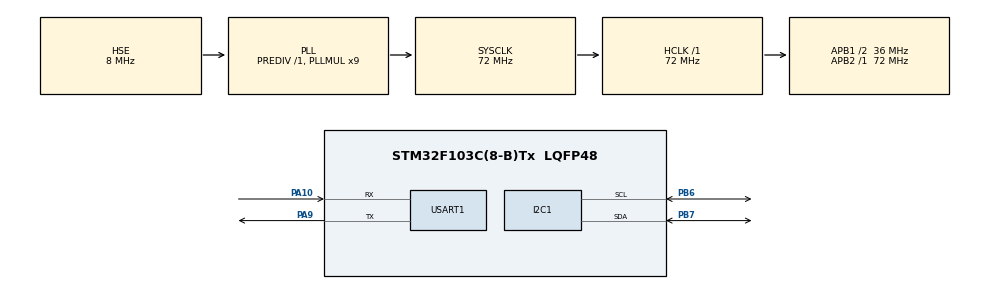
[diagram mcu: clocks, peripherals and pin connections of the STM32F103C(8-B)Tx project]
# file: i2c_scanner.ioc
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Mcu.Family=STM32F1
Mcu.Name=STM32F103C(8-B)Tx
Mcu.Package=LQFP48
NVIC.PriorityGroup=NVIC_PRIORITYGROUP_4
PA10.Mode=Asynchronous
PA10.Signal=USART1_RX
PA13.Mode=Serial_Wire
PA13.Signal=SYS_JTMS-SWDIO
PA14.Mode=Serial_Wire
PA14.Signal=SYS_JTCK-SWCLK
PA9.Mode=Asynchronous
PA9.Signal=USART1_TX
PB6.Mode=I2C
PB6.Signal=I2C1_SCL
PB7.Mode=I2C
PB7.Signal=I2C1_SDA
PD0-OSC_IN.Mode=HSE-External-Oscillator
PD0-OSC_IN.Signal=RCC_OSC_IN
PD1-OSC_OUT.Mode=HSE-External-Oscillator
PD1-OSC_OUT.Signal=RCC_OSC_OUT
ProjectManager.HeapSize=0x200
ProjectManager.StackSize=0x400
ProjectManager.TargetToolchain=STM32CubeIDE
RCC.AHBFreq_Value=72000000
RCC.APB1CLKDivider=RCC_HCLK_DIV2
RCC.APB1Freq_Value=36000000
RCC.APB1TimFreq_Value=72000000
RCC.APB2Freq_Value=72000000
RCC.APB2TimFreq_Value=72000000
RCC.HCLKFreq_Value=72000000
RCC.PLLMUL=RCC_PLL_MUL9
RCC.PLLSourceVirtual=RCC_PLLSOURCE_HSE
RCC.SYSCLKFreq_VALUE=72000000
RCC.SYSCLKSource=RCC_SYSCLKSOURCE_PLLCLK
RCC.USBFreq_Value=72000000
USART1.VirtualMode=VM_ASYNC
board=custom

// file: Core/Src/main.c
/* USER CODE BEGIN Header */
/**
  ******************************************************************************
  * @file           : main.c
  * @brief          : Main program body
  ******************************************************************************
  * @attention
  *
  * Copyright (c) 2024 STMicroelectronics.
  * All rights reserved.
  *
  * This software is licensed under terms that can be found in the LICENSE file
  * in the root directory of this software component.
  * If no LICENSE file comes with this software, it is provided AS-IS.
  *
  ******************************************************************************
  */
/* USER CODE END Header */
#include "main.h"
#include "string.h"

I2C_HandleTypeDef hi2c1;

UART_HandleTypeDef huart1;

/* USER CODE BEGIN PV */
uint8_t buf[8] = {0};
uint8_t separator[] = " . ";
uint8_t new_line[] = "\r\n";
uint8_t start_text[] = "Start scanning I2C: \r\n";
uint8_t end_text[] = "\r\nStop scanning";

/* USER CODE END PV */

void SystemClock_Config(void);
static void MX_GPIO_Init(void);
static void MX_I2C1_Init(void);
static void MX_USART1_UART_Init(void);

int main(void)
{

  /* MCU Configuration--------------------------------------------------------*/

  /* Reset of all peripherals, Initializes the Flash interface and the Systick. */
  HAL_Init();

  /* Configure the system clock */
  SystemClock_Config();

  /* Initialize all configured peripherals */
  MX_GPIO_Init();
  MX_I2C1_Init();
  MX_USART1_UART_Init();
  /* USER CODE BEGIN 2 */

  uint8_t row = 0, state;

    HAL_Delay(1000);

    // процедура сканирования
    HAL_UART_Transmit(&huart1, start_text, sizeof(start_text), 128);
    for( uint8_t i=1; i<128; i++ ){
        state = HAL_I2C_IsDeviceReady(&hi2c1, (uint16_t)(i<<1), 3, 5);

        if ( state != HAL_OK ){ // нет ответа от адреса
            HAL_UART_Transmit(&huart1, separator, sizeof(separator), 128);
        }

        else if(state == HAL_OK){ // есть ответ
            sprintf(buf, "0x%X", i);
            HAL_UART_Transmit(&huart1, buf, sizeof(buf), 128);
        }

        if( row == 15 ){
      	  row = 0;
            HAL_UART_Transmit(&huart1, new_line, sizeof(new_line), 128);
        } else
      	  row ++;
    }
    HAL_UART_Transmit(&huart1, end_text, sizeof(end_text), 128);

  /* USER CODE END 2 */

  /* Infinite loop */
  while (1)
  {

  }
}

void SystemClock_Config(void)
{
  RCC_OscInitTypeDef RCC_OscInitStruct = {0};
  RCC_ClkInitTypeDef RCC_ClkInitStruct = {0};

  /** Initializes the RCC Oscillators according to the specified parameters
  * in the RCC_OscInitTypeDef structure.
  */
  RCC_OscInitStruct.OscillatorType = RCC_OSCILLATORTYPE_HSE;
  RCC_OscInitStruct.HSEState = RCC_HSE_ON;
  RCC_OscInitStruct.HSEPredivValue = RCC_HSE_PREDIV_DIV1;
  RCC_OscInitStruct.HSIState = RCC_HSI_ON;
  RCC_OscInitStruct.PLL.PLLState = RCC_PLL_ON;
  RCC_OscInitStruct.PLL.PLLSource = RCC_PLLSOURCE_HSE;
  RCC_OscInitStruct.PLL.PLLMUL = RCC_PLL_MUL9;
  if (HAL_RCC_OscConfig(&RCC_OscInitStruct) != HAL_OK)
  {
    Error_Handler();
  }

  /** Initializes the CPU, AHB and APB buses clocks
  */
  RCC_ClkInitStruct.ClockType = RCC_CLOCKTYPE_HCLK|RCC_CLOCKTYPE_SYSCLK
                              |RCC_CLOCKTYPE_PCLK1|RCC_CLOCKTYPE_PCLK2;
  RCC_ClkInitStruct.SYSCLKSource = RCC_SYSCLKSOURCE_PLLCLK;
  RCC_ClkInitStruct.AHBCLKDivider = RCC_SYSCLK_DIV1;
  RCC_ClkInitStruct.APB1CLKDivider = RCC_HCLK_DIV2;
  RCC_ClkInitStruct.APB2CLKDivider = RCC_HCLK_DIV1;

  if (HAL_RCC_ClockConfig(&RCC_ClkInitStruct, FLASH_LATENCY_2) != HAL_OK)
  {
    Error_Handler();
  }
}

static void MX_I2C1_Init(void)
{

  hi2c1.Instance = I2C1;
  hi2c1.Init.ClockSpeed = 100000;
  hi2c1.Init.DutyCycle = I2C_DUTYCYCLE_2;
  hi2c1.Init.OwnAddress1 = 0;
  hi2c1.Init.AddressingMode = I2C_ADDRESSINGMODE_7BIT;
  hi2c1.Init.DualAddressMode = I2C_DUALADDRESS_DISABLE;
  hi2c1.Init.OwnAddress2 = 0;
  hi2c1.Init.GeneralCallMode = I2C_GENERALCALL_DISABLE;
  hi2c1.Init.NoStretchMode = I2C_NOSTRETCH_DISABLE;
  if (HAL_I2C_Init(&hi2c1) != HAL_OK)
  {
    Error_Handler();
  }

}

static void MX_USART1_UART_Init(void)
{

  huart1.Instance = USART1;
  huart1.Init.BaudRate = 115200;
  huart1.Init.WordLength = UART_WORDLENGTH_8B;
  huart1.Init.StopBits = UART_STOPBITS_1;
  huart1.Init.Parity = UART_PARITY_NONE;
  huart1.Init.Mode = UART_MODE_TX_RX;
  huart1.Init.HwFlowCtl = UART_HWCONTROL_NONE;
  huart1.Init.OverSampling = UART_OVERSAMPLING_16;
  if (HAL_UART_Init(&huart1) != HAL_OK)
  {
    Error_Handler();
  }

}

static void MX_GPIO_Init(void)
{

  /* GPIO Ports Clock Enable */
  __HAL_RCC_GPIOD_CLK_ENABLE();
  __HAL_RCC_GPIOA_CLK_ENABLE();
  __HAL_RCC_GPIOB_CLK_ENABLE();

}

void Error_Handler(void)
{
  __disable_irq();
  while (1)
  {
  }
}
